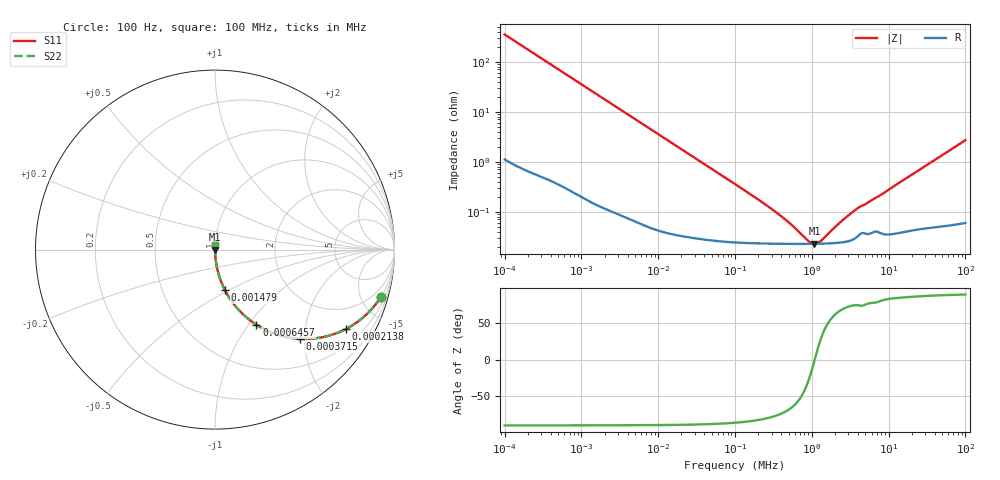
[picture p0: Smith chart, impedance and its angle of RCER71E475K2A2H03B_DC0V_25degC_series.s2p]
!Murata Part Number: RCER71E475K2A2H03B
!These Parameters are Measured in Series Mode Connection
!  o--ll--o
!Port1  Port2
!  o------o
!Operation Temp=25[degC], DC Bias Voltage=0[V]
!Freq. Start=100[Hz] Stop=100[MHz], 401[Steps]
!Data Generated on Feb 18, 2020
# Hz S RI R 50
!Freq.(Hz) S11(Real) S11(Imag) S21(Real) S21(Imag) S12(Real) S12(Imag) S22(Real) S22(Imag)
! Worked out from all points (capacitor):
!   401 points, 100 Hz to 100 MHz, reference 50 ohm
!   read as one part in series: C = 4.53 uF near 107.2 Hz
!   lowest |Z| = 22.7 mohm at 1.084 MHz (marker M1)
!   series resonance near 1.09 MHz, so ESL is about 4.7 nH
!   S11 on the Smith chart (normalised r, x): 100 Hz: 1.02, -7.02; 213.8 Hz: 1.01, -3.29; 371.5 Hz: 1.01, -1.89; 645.7 Hz: 1.01, -1.09; 1.479 kHz: 1.00, -0.48; 100 MHz: 1.00, +0.05
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100  0.9242 -0.2632  0.0758 0.2632  0.0758 0.2632  0.9242 -0.2632
146.2177  0.8514 -0.3541  0.1486 0.3541  0.1486 0.3541  0.8514 -0.3541
213.7962  0.729 -0.4426  0.271 0.4426  0.271 0.4426  0.729 -0.4426
281.8383  0.6083 -0.4861  0.3917 0.4861  0.3917 0.4861  0.6083 -0.4861
371.5352  0.4729 -0.497  0.5271 0.497  0.5271 0.497  0.4729 -0.497
645.6542  0.2308 -0.4187  0.7692 0.4187  0.7692 0.4187  0.2308 -0.4187
1011.579  0.1099 -0.31  0.8901 0.31  0.8901 0.31  0.1099 -0.31
1479.108  0.0552 -0.2254  0.9448 0.2254  0.9448 0.2254  0.0552 -0.2254
3507.519  0.0109 -0.0999  0.9891 0.0999  0.9891 0.0999  0.0109 -0.0999
10232.93  0.00162 -0.0347  0.9984 0.0347  0.9984 0.0347  0.00162 -0.0347
100000  0.000254 -0.00356  0.9997 0.00356  0.9997 0.00356  0.000254 -0.00356
371535.2  0.000228 -0.000857  0.9998 0.000857  0.9998 0.000857  0.000228 -0.000857
543250.3  0.000226 -0.000499  0.9998 0.000499  0.9998 0.000499  0.000226 -0.000499
881048.9  0.000226 -0.000142  0.9998 0.000142  0.9998 0.000142  0.000226 -0.000142
1011579  0.000227 -4.94e-05  0.9998 4.94e-05  0.9998 4.94e-05  0.000227 -4.94e-05
1083927  0.000227 -3.55e-06  0.9998 3.55e-06  0.9998 3.55e-06  0.000227 -3.55e-06
1202264  0.000228 6.53e-05  0.9998 -6.53e-05  0.9998 -6.53e-05  0.000228 6.53e-05
1333521  0.000229 0.000135  0.9998 -0.000135  0.9998 -0.000135  0.000229 0.000135
2238721  0.000239 0.000523  0.9998 -0.000523  0.9998 -0.000523  0.000239 0.000523
3758374  0.000302 0.00107  0.9997 -0.00107  0.9997 -0.00107  0.000302 0.00107
1.023293e7  0.000357 0.00279  0.9996 -0.00279  0.9996 -0.00279  0.000357 0.00279
1e8  0.00132 0.0268  0.9987 -0.0268  0.9987 -0.0268  0.00132 0.0268
